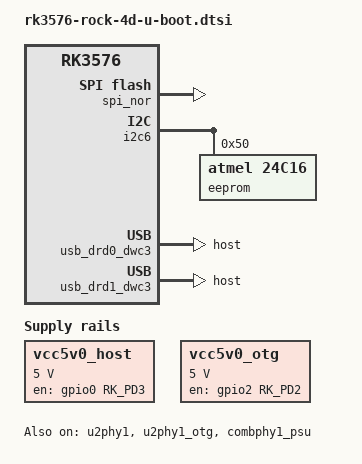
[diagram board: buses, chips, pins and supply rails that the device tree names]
// SPDX-License-Identifier: (GPL-2.0+ OR MIT)
#include <dt-bindings/input/input.h>
#include "rk3576-u-boot.dtsi"

/ {
	chosen {
		/* SD recovery first, then the module fitted to the storage connector. */
		u-boot,spl-boot-order = &sdmmc, &sdhci, &ufs, "same-as-spl";
	};

	bootstd {
		filename-prefixes = "/", "/boot/";
	};

	vcc5v0_host: vcc5v0-host {
		bootph-all;
		compatible = "regulator-fixed";
		regulator-name = "vcc5v0_host";
		regulator-min-microvolt = <5000000>;
		regulator-max-microvolt = <5000000>;
		gpio = <&gpio0 RK_PD3 GPIO_ACTIVE_HIGH>;
		enable-active-high;
		pinctrl-names = "default";
		pinctrl-0 = <&usb_host_pwren>;
	};

	vcc5v0_otg: vcc5v0-otg {
		bootph-all;
		compatible = "regulator-fixed";
		regulator-name = "vcc5v0_otg";
		regulator-min-microvolt = <5000000>;
		regulator-max-microvolt = <5000000>;
		gpio = <&gpio2 RK_PD2 GPIO_ACTIVE_HIGH>;
		enable-active-high;
		pinctrl-names = "default";
		pinctrl-0 = <&usb_otg_pwren>;
	};
};

&spi_nand {
	status = "disabled";
};

&spi_nor {
	status = "okay";
};

&sfc0 {
	/* FSPI0 shares its pins with eMMC; only the SPI variant enables it. */
	status = "disabled";
};

&emmc_bus8 {
	bootph-all;
};

&emmc_clk {
	bootph-all;
};

&emmc_cmd {
	bootph-all;
};

&emmc_strb {
	bootph-all;
};

&emmc_rstnout {
	bootph-all;
};

&i2c6 {
	bootph-all;
	status = "okay";
	pinctrl-names = "default";
	pinctrl-0 = <&i2c6m3_xfer>;

	eeprom@50 {
		bootph-all;
		compatible = "atmel,24c16";
		reg = <0x50>;
		pagesize = <16>;
	};
};

&i2c6m3_xfer {
	bootph-all;
};

&pcfg_pull_none_smt {
	bootph-all;
};

&pinctrl {
	usb {
		usb_host_pwren: usb-host-pwren {
			bootph-all;
			rockchip,pins = <0 RK_PD3 RK_FUNC_GPIO &pcfg_pull_none>;
		};

		usb_otg_pwren: usb-otg-pwren {
			bootph-all;
			rockchip,pins = <2 RK_PD2 RK_FUNC_GPIO &pcfg_pull_none>;
		};
	};
};

&u2phy0_otg {
	vbus-supply = <&vcc5v0_otg>;
};

&usb_drd0_dwc3 {
	bootph-all;
	dr_mode = "host";
	status = "okay";
};

&usbdp_phy {
	rockchip,dp-lane-mux = <2 3>;
};

&u2phy1 {
	bootph-all;
	status = "okay";
};

&u2phy1_otg {
	bootph-all;
	phy-supply = <&vcc5v0_host>;
	status = "okay";
};

&combphy1_psu {
	bootph-all;
	status = "okay";
};

&usb_drd1_dwc3 {
	bootph-all;
	dr_mode = "host";
	status = "okay";
};

&sata0 {
	/* The board routes this combo PHY to PCIe. */
	status = "disabled";
};
